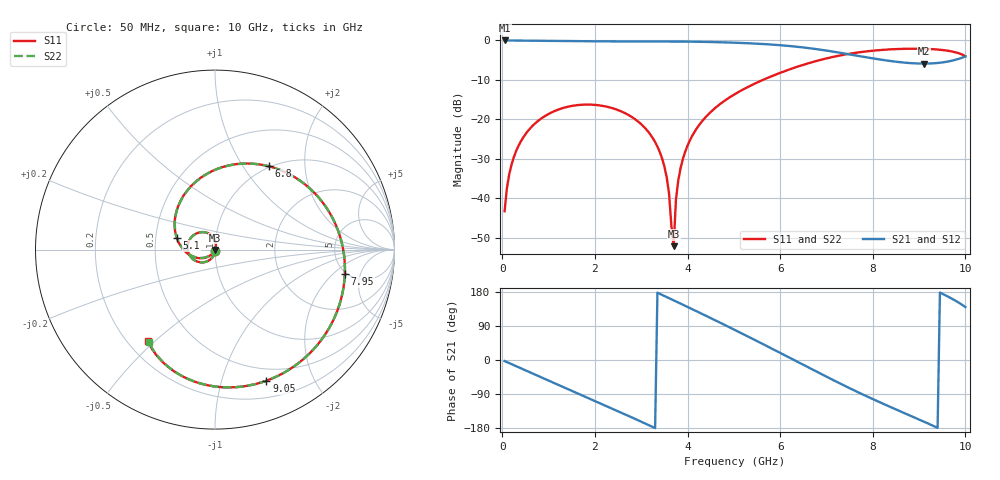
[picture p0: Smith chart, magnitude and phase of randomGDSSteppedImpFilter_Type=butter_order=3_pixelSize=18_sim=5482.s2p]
! freq	dB(S11)	phase(S11)	dB(S12)	phase(S12)
!  dB(S21)	phase(S21)	dB(S22)	phase(S22)
!S-par simulation data
#  GHz  S  DB  R 50
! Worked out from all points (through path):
!   200 points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, 50 MHz to 10 GHz, reference 50 ohm
!   highest |S21| = -0.01 dB at 50 MHz (marker M1); lowest = -5.9 dB at 9.1 GHz (marker M2)
!   group delay of S21, straight-line fit = 162 ps
!   lowest |S11| = -52.1 dB at 3.7 GHz (marker M3), VSWR 1.00, Z = 49.9 - j0.231 ohm
!   |S11| at or under -10 dB: start of sweep to 5.626 GHz
!   |S22| runs from -50.3 to -2.1 dB; largest |S21 - S12| = 0
!   S11 on the Smith chart (normalised r, x): 50 MHz: 1.00, -0.01; 5.1 GHz: 0.64, +0.09; 6.8 GHz: 0.99, +1.32; 7.95 GHz: 4.82, -2.87; 9.05 GHz: 0.37, -1.40; 10 GHz: 0.28, -0.47
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0.05  -43.21 -90.5  -0.01 -2.8  -0.01 -2.8  -43.21 -90.5
0.2  -31.41 -100.5  -0.02 -11.0  -0.02 -11.0  -31.41 -100.5
0.5  -23.74 -117.6  -0.06 -27.2  -0.06 -27.2  -23.74 -117.6
1.15  -17.77 -153.1  -0.15 -62.3  -0.15 -62.3  -17.77 -153.0
1.75  -16.25 174.5  -0.21 -94.5  -0.21 -94.5  -16.25 174.7
2.8  -19.40 117.3  -0.23 -151.6  -0.23 -151.6  -19.40 118.0
3.4  -28.22 83.5  -0.24 174.7  -0.24 174.7  -28.21 85.9
3.55  -34.61 74.8  -0.25 166.1  -0.25 166.1  -34.57 80.2
3.7  -52.07 -111.6  -0.26 157.5  -0.26 157.5  -50.26 -150.6
3.75  -40.28 -116.0  -0.26 154.6  -0.26 154.6  -40.14 -127.0
3.8  -35.41 -119.1  -0.27 151.7  -0.27 151.7  -35.37 -125.5
4  -26.62 -131.0  -0.30 140.1  -0.30 140.1  -26.61 -133.4
5.05  -13.39 166.2  -0.59 77.6  -0.59 77.6  -13.39 165.6
5.1  -13.05 163.2  -0.61 74.6  -0.61 74.6  -13.05 162.6
5.95  -8.43 110.4  -1.16 21.9  -1.16 21.9  -8.43 110.1
6.7  -5.47 63.2  -2.07 -25.4  -2.07 -25.4  -5.47 63.1
6.8  -5.14 57.0  -2.22 -31.7  -2.22 -31.7  -5.14 56.9
7.95  -2.66 -10.7  -4.44 -100.3  -4.44 -100.3  -2.66 -10.6
8.35  -2.28 -32.2  -5.16 -122.4  -5.16 -122.4  -2.28 -32.1
9.05  -2.11 -68.6  -5.86 -159.7  -5.86 -159.7  -2.10 -68.4
9.1  -2.12 -71.2  -5.86 -162.4  -5.86 -162.4  -2.12 -71.0
10  -3.98 -126.4  -4.06 139.6  -4.06 139.6  -3.97 -125.7
